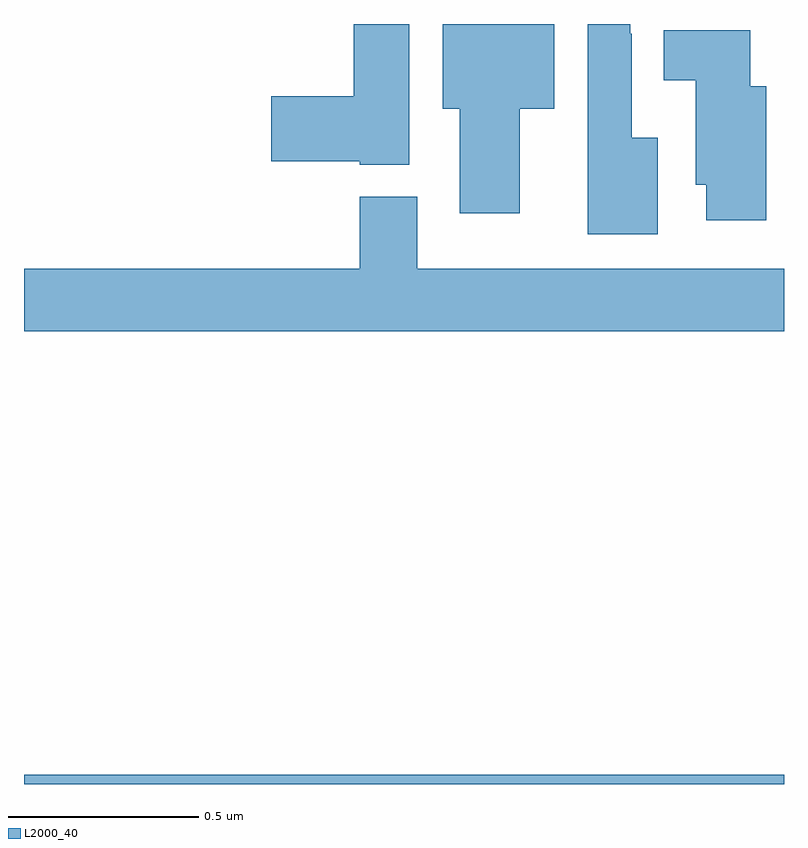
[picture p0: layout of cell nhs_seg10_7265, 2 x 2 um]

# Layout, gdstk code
import gdstk
lib = gdstk.Library(unit=1e-6, precision=1e-09)
def R(c, l, rs):  # rectangles x0, y0, x1, y1
    for r in rs: c.add(gdstk.rectangle(r[:2], r[2:], *l))
def P(c, l, *ps):  # polygons
    for p in ps: c.add(gdstk.Polygon(p, *l))
L2000_40 = (2000, 40)

nhs_seg10_7265 = lib.new_cell('nhs_seg10_7265')
R(nhs_seg10_7265, L2000_40, [(202,1256.5,204,1256.524)])
P(nhs_seg10_7265, L2000_40, [(203.668,1258.201),(203.599,1258.201),(203.599,1258.475),(203.595,1258.475),(203.595,1258.5),(203.483,1258.5),(203.483,1257.947),(203.668,1257.947)],
  [(203.305,1258.277),(203.395,1258.277),(203.395,1258.5),(203.102,1258.5),(203.102,1258.277),(203.147,1258.277),(203.147,1258.002),(203.305,1258.002)],
  [(203.014,1258.5),(202.868,1258.5),(202.868,1258.31),(202.65,1258.31),(202.65,1258.139),(202.884,1258.139),(202.884,1258.13),(203.014,1258.13)],
  [(203.953,1258.336),(203.911,1258.336),(203.911,1258.483),(203.684,1258.483),(203.684,1258.352),(203.768,1258.352),(203.768,1258.077),(203.795,1258.077),(203.795,1257.984),(203.953,1257.984)],
  [(204,1257.856),(203.035,1257.856),(203.035,1258.045),(202.883,1258.045),(202.883,1257.856),(202,1257.856),(202,1257.692),(204,1257.692)])

lib.write_gds('nhs_seg10_7265.gds')
